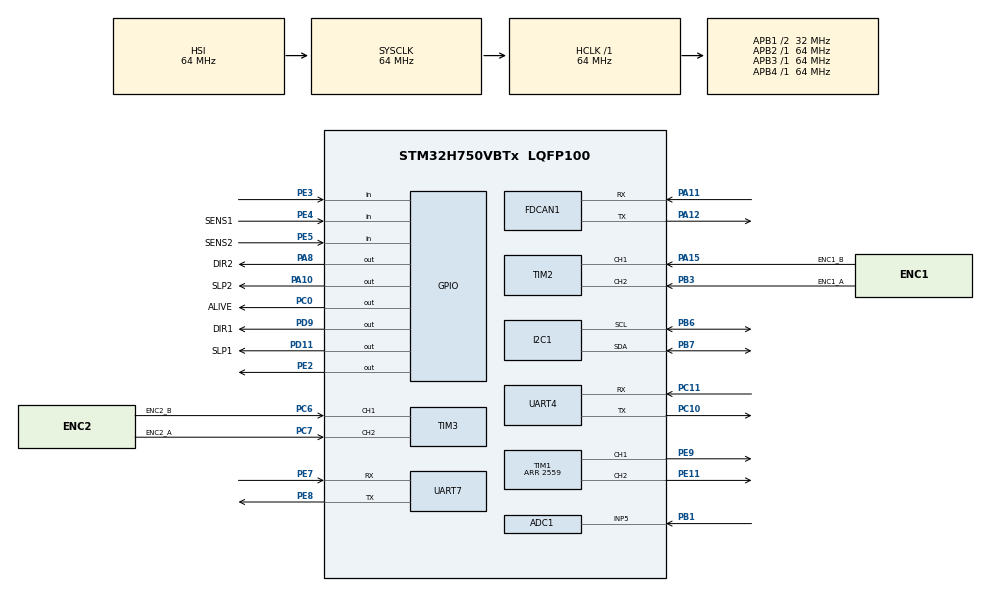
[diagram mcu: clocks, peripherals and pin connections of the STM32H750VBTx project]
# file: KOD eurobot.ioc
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ADC1.Channel-0\#ChannelRegularConversion=ADC_CHANNEL_5
ADC1.ContinuousConvMode=ENABLE
ADC1.ConversionDataManagement=ADC_CONVERSIONDATA_DR
ADC1.NbrOfConversionFlag=1
ADC1.OffsetNumber-0\#ChannelRegularConversion=ADC_OFFSET_NONE
ADC1.OffsetSignedSaturation-0\#ChannelRegularConversion=DISABLE
ADC1.Overrun=ADC_OVR_DATA_OVERWRITTEN
ADC1.Rank-0\#ChannelRegularConversion=1
ADC1.SamplingTime-0\#ChannelRegularConversion=ADC_SAMPLETIME_387CYCLES_5
ADC1.master=1
CORTEX_M7.default_mode_Activation=1
FDCAN1.CalculateBaudRateNominal=500000
FDCAN1.CalculateTimeBitNominal=2000
FDCAN1.CalculateTimeQuantumNominal=100.0
FDCAN1.NominalPrescaler=2
FDCAN1.NominalTimeSeg1=15
FDCAN1.NominalTimeSeg2=4
FDCAN1.RxFifo0ElmtsNbr=8
FDCAN1.RxFifo1ElmtsNbr=8
FDCAN1.StdFiltersNbr=1
FDCAN1.TxFifoQueueElmtsNbr=8
I2C1.Timing=0x00707CBB
Mcu.Family=STM32H7
Mcu.Name=STM32H750VBTx
Mcu.Package=LQFP100
NVIC.FDCAN1_IT0_IRQn=true\:5\:0\:true\:false\:true\:true\:true\:true
NVIC.PriorityGroup=NVIC_PRIORITYGROUP_4
NVIC.TIM7_IRQn=true\:0\:0\:false\:false\:true\:true\:true\:true
PA10.GPIO_Label=SLP2
PA10.GPIO_ModeDefaultOutputPP=GPIO_MODE_OUTPUT_PP
PA10.GPIO_PuPd=GPIO_NOPULL
PA10.GPIO_Speed=GPIO_SPEED_FREQ_LOW
PA10.PinState=GPIO_PIN_RESET
PA10.Signal=GPIO_Output
PA11.Mode=FDCAN_Activate
PA11.Signal=FDCAN1_RX
PA12.Mode=FDCAN_Activate
PA12.Signal=FDCAN1_TX
PA13\ (JTMS/SWDIO).Mode=Serial_Wire
PA13\ (JTMS/SWDIO).Signal=DEBUG_JTMS-SWDIO
PA14\ (JTCK/SWCLK).Mode=Serial_Wire
PA14\ (JTCK/SWCLK).Signal=DEBUG_JTCK-SWCLK
PA15\ (JTDI).GPIO_Label=ENC1_B
PA15\ (JTDI).GPIO_PuPd=GPIO_PULLUP
PA15\ (JTDI).Signal=S_TIM2_CH1_ETR
PA8.GPIO_Label=DIR2
PA8.Signal=GPIO_Output
PB1.Signal=ADCx_INP5
PB3\ (JTDO/TRACESWO).GPIO_Label=ENC1_A
PB3\ (JTDO/TRACESWO).GPIO_PuPd=GPIO_PULLUP
PB3\ (JTDO/TRACESWO).Signal=S_TIM2_CH2
PB6.GPIO_Pu=GPIO_PULLUP
PB6.Mode=I2C
PB6.Signal=I2C1_SCL
PB7.GPIO_Pu=GPIO_PULLUP
PB7.Mode=I2C
PB7.Signal=I2C1_SDA
PC0.GPIO_Label=ALIVE
PC0.GPIO_PuPd=GPIO_PULLDOWN
PC0.Signal=GPIO_Output
PC10.Mode=Asynchronous
PC10.Signal=UART4_TX
PC11.Mode=Asynchronous
PC11.Signal=UART4_RX
PC6.GPIO_Label=ENC2_B
PC6.GPIO_PuPd=GPIO_PULLUP
PC6.Signal=S_TIM3_CH1
PC7.GPIO_Label=ENC2_A
PC7.GPIO_PuPd=GPIO_PULLUP
PC7.Signal=S_TIM3_CH2
PD11.GPIO_Label=SLP1
PD11.GPIO_PuPd=GPIO_NOPULL
PD11.PinState=GPIO_PIN_RESET
PD11.Signal=GPIO_Output
PD9.GPIO_Label=DIR1
PD9.GPIO_PuPd=GPIO_PULLDOWN
PD9.Signal=GPIO_Output
PE11.Signal=S_TIM1_CH2
PE2.Signal=GPIO_Output
PE3.Signal=GPIO_Input
PE4.GPIO_Label=SENS1
PE4.GPIO_PuPd=GPIO_PULLDOWN
PE4.Signal=GPIO_Input
PE5.GPIO_Label=SENS2
PE5.GPIO_PuPd=GPIO_PULLDOWN
PE5.Signal=GPIO_Input
PE7.Mode=Asynchronous
PE7.Signal=UART7_RX
PE8.Mode=Asynchronous
PE8.Signal=UART7_TX
PE9.Signal=S_TIM1_CH1
ProjectManager.HeapSize=0x200
ProjectManager.StackSize=0x400
ProjectManager.TargetToolchain=STM32CubeIDE
RCC.ADCFreq_Value=80000000
RCC.APB1Freq_Value=32000000
RCC.APB2Freq_Value=64000000
RCC.APB3Freq_Value=64000000
RCC.APB4Freq_Value=64000000
RCC.CortexFreq_Value=64000000
RCC.D2PPRE1=RCC_APB1_DIV2
RCC.DIVM1=4
RCC.DIVM2=4
RCC.DIVN1=10
RCC.DIVN2=10
RCC.DIVQ1=8
RCC.HCLKFreq_Value=64000000
RCC.PLL2FRACN=0
RCC.PLLFRACN=0
RCC.SYSCLKFreq_VALUE=64000000
RCC.USBFreq_Value=20000000
SH.ADCx_INP5.0=ADC1_INP5,IN5-Single-Ended
SH.S_TIM1_CH1.0=TIM1_CH1,PWM Generation1 CH1
SH.S_TIM1_CH2.0=TIM1_CH2,PWM Generation2 CH2
SH.S_TIM2_CH1_ETR.0=TIM2_CH1,Encoder_Interface
SH.S_TIM2_CH2.0=TIM2_CH2,Encoder_Interface
SH.S_TIM3_CH1.0=TIM3_CH1,Encoder_Interface
SH.S_TIM3_CH2.0=TIM3_CH2,Encoder_Interface
TIM1.AutoReloadPreload=TIM_AUTORELOAD_PRELOAD_ENABLE
TIM1.Channel-PWM\ Generation1\ CH1=TIM_CHANNEL_1
TIM1.Channel-PWM\ Generation2\ CH2=TIM_CHANNEL_2
TIM1.Period=2559
TIM1.Pulse-PWM\ Generation1\ CH1=1280
TIM2.EncoderMode=TIM_ENCODERMODE_TI12
TIM3.EncoderMode=TIM_ENCODERMODE_TI12
TIM7.AutoReloadPreload=TIM_AUTORELOAD_PRELOAD_ENABLE
TIM7.Period=1999
TIM7.Prescaler=63
VP_MEMORYMAP_VS_MEMORYMAP.Mode=CurAppReg
VP_TIM7_VS_ClockSourceINT.Mode=Enable_Timer
board=custom

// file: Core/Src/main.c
/* USER CODE BEGIN Header */
/**
  ******************************************************************************
  * @file           : main.c
  * @brief          : STM kretacka - brzina levog/desnog tocka preko CAN-a
  ******************************************************************************
  * @attention
  *
  * Copyright (c) 2026 STMicroelectronics.
  * All rights reserved.
  *
  * This software is licensed under terms that can be found in the LICENSE file
  * in the root directory of this software component.
  * If no LICENSE file comes with this software, it is provided AS-IS.
  *
  ******************************************************************************
  */
/* USER CODE END Header */
#include "main.h"
#include "adc.h"
#include "fdcan.h"
#include "i2c.h"
#include "tim.h"
#include "usart.h"
#include "gpio.h"

/* USER CODE BEGIN Includes */
#include "Lib/board_config.h"

#include "Lib/ADC.h"
#include "Lib/motor.h"
#include "Lib/motors.h"

#include "Lib/encoders.h"
#include "Lib/odometry.h"
#include "Lib/PID.h"

#include "Lib/can_comm.h"
/* USER CODE END Includes */

/* USER CODE BEGIN PV */

volatile static float meas_speed_left  = 0.0f;   /* rad/s, filtrirano */
volatile static float meas_speed_right = 0.0f;
volatile static float cmd_left  = 0.0f;          /* % maks. PWM-a, -100..+100 */
volatile static float cmd_right = 0.0f;

/* USER CODE END PV */

void SystemClock_Config(void);
static void MPU_Config(void);

int main(void)
{
  MPU_Config();

  HAL_Init();

  /* Configure the system clock */
  SystemClock_Config();

  /* Initialize all configured peripherals */
  MX_GPIO_Init();
  MX_ADC1_Init();
  MX_TIM1_Init();
  MX_I2C1_Init();
  MX_UART4_Init();
  MX_UART7_Init();
  MX_TIM2_Init();
  MX_TIM3_Init();
  MX_TIM7_Init();
  MX_FDCAN1_Init();

  /* USER CODE BEGIN 2 */

  encoder_init();
  PWM_Init();
  odometry_init();

  wheel_pid_gains_init(&wheel_gains, PID_DEFAULT_KP, PID_DEFAULT_KI, PID_DEFAULT_KD, PID_D_LPF_FC_HZ, CONTROL_FREQ_HZ);
  wheel_pid_init(&pid_left, &wheel_gains, PID_COMMAND_LIMIT_PCT, PID_INTEGRATOR_LIMIT_PCT);
  wheel_pid_init(&pid_right, &wheel_gains, PID_COMMAND_LIMIT_PCT, PID_INTEGRATOR_LIMIT_PCT);

  can_comm_init();
  can_comm_startup_flush();

  HAL_TIM_Base_Start_IT(&htim7);
  /* USER CODE END 2 */

  while (1)
  {
    /* USER CODE END WHILE */

    /* USER CODE BEGIN 3 */

	  can_comm_task();
  }
  /* USER CODE END 3 */
}

void SystemClock_Config(void)
{
  RCC_OscInitTypeDef RCC_OscInitStruct = {0};
  RCC_ClkInitTypeDef RCC_ClkInitStruct = {0};

  /** Supply configuration update enable
  */
  HAL_PWREx_ConfigSupply(PWR_LDO_SUPPLY);

  /** Configure the main internal regulator output voltage
  */
  __HAL_PWR_VOLTAGESCALING_CONFIG(PWR_REGULATOR_VOLTAGE_SCALE3);

  while(!__HAL_PWR_GET_FLAG(PWR_FLAG_VOSRDY)) {}

  /** Initializes the RCC Oscillators according to the specified parameters
  * in the RCC_OscInitTypeDef structure.
  */
  RCC_OscInitStruct.OscillatorType = RCC_OSCILLATORTYPE_HSI;
  RCC_OscInitStruct.HSIState = RCC_HSI_DIV1;
  RCC_OscInitStruct.HSICalibrationValue = RCC_HSICALIBRATION_DEFAULT;
  RCC_OscInitStruct.PLL.PLLState = RCC_PLL_ON;
  RCC_OscInitStruct.PLL.PLLSource = RCC_PLLSOURCE_HSI;
  RCC_OscInitStruct.PLL.PLLM = 4;
  RCC_OscInitStruct.PLL.PLLN = 10;
  RCC_OscInitStruct.PLL.PLLP = 2;
  RCC_OscInitStruct.PLL.PLLQ = 8;
  RCC_OscInitStruct.PLL.PLLR = 2;
  RCC_OscInitStruct.PLL.PLLRGE = RCC_PLL1VCIRANGE_3;
  RCC_OscInitStruct.PLL.PLLVCOSEL = RCC_PLL1VCOMEDIUM;
  RCC_OscInitStruct.PLL.PLLFRACN = 0;
  if (HAL_RCC_OscConfig(&RCC_OscInitStruct) != HAL_OK)
  {
    Error_Handler();
  }

  /** Initializes the CPU, AHB and APB buses clocks
  */
  RCC_ClkInitStruct.ClockType = RCC_CLOCKTYPE_HCLK|RCC_CLOCKTYPE_SYSCLK
                              |RCC_CLOCKTYPE_PCLK1|RCC_CLOCKTYPE_PCLK2
                              |RCC_CLOCKTYPE_D3PCLK1|RCC_CLOCKTYPE_D1PCLK1;
  RCC_ClkInitStruct.SYSCLKSource = RCC_SYSCLKSOURCE_HSI;
  RCC_ClkInitStruct.SYSCLKDivider = RCC_SYSCLK_DIV1;
  RCC_ClkInitStruct.AHBCLKDivider = RCC_HCLK_DIV1;
  RCC_ClkInitStruct.APB3CLKDivider = RCC_APB3_DIV1;
  RCC_ClkInitStruct.APB1CLKDivider = RCC_APB1_DIV2;
  RCC_ClkInitStruct.APB2CLKDivider = RCC_APB2_DIV1;
  RCC_ClkInitStruct.APB4CLKDivider = RCC_APB4_DIV1;

  if (HAL_RCC_ClockConfig(&RCC_ClkInitStruct, FLASH_LATENCY_1) != HAL_OK)
  {
    Error_Handler();
  }
}

/* USER CODE BEGIN 4 */

void HAL_TIM_PeriodElapsedCallback(TIM_HandleTypeDef *htim)
{
    if (htim->Instance != TIM7)
        return;

    static uint16_t feedback_div = 0;
    static uint16_t alive_div = 0;

    // 500hz
    odometry_update();

    meas_speed_left  = get_wheel_speed_left();
    meas_speed_right = get_wheel_speed_right();

    // PID - 500 Hz
    if (can_motors_on) {
        cmd_left = wheel_pid_update(&pid_left, can_ref_speed_left, meas_speed_left);
        cmd_right = wheel_pid_update(&pid_right, can_ref_speed_right, meas_speed_right);

        PWM_SetCommand_Left(cmd_left);
        PWM_SetCommand_Right(cmd_right);
    } else {
        cmd_left = 0.0f;
        cmd_right = 0.0f;

        PWM_Stop();
    }

    // CAN feedback - 100 Hz
    if (++feedback_div >= CONTROL_FREQ_HZ / FEEDBACK_FREQ_HZ)
    {
        feedback_div = 0;
        can_comm_feedback_due();
    }

    // 1Hz alive led blinking
    if (++alive_div >= CONTROL_FREQ_HZ)
	{
		alive_div = 0;
		HAL_GPIO_TogglePin(ALIVE_GPIO_Port, ALIVE_Pin);
	}
}

/* USER CODE END 4 */

 /* MPU Configuration */

void MPU_Config(void)
{
  MPU_Region_InitTypeDef MPU_InitStruct = {0};

  /* Disables the MPU */
  HAL_MPU_Disable();

  /** Initializes and configures the Region and the memory to be protected
  */
  MPU_InitStruct.Enable = MPU_REGION_ENABLE;
  MPU_InitStruct.Number = MPU_REGION_NUMBER0;
  MPU_InitStruct.BaseAddress = 0x0;
  MPU_InitStruct.Size = MPU_REGION_SIZE_4GB;
  MPU_InitStruct.SubRegionDisable = 0x87;
  MPU_InitStruct.TypeExtField = MPU_TEX_LEVEL0;
  MPU_InitStruct.AccessPermission = MPU_REGION_NO_ACCESS;
  MPU_InitStruct.DisableExec = MPU_INSTRUCTION_ACCESS_DISABLE;
  MPU_InitStruct.IsShareable = MPU_ACCESS_SHAREABLE;
  MPU_InitStruct.IsCacheable = MPU_ACCESS_NOT_CACHEABLE;
  MPU_InitStruct.IsBufferable = MPU_ACCESS_NOT_BUFFERABLE;

  HAL_MPU_ConfigRegion(&MPU_InitStruct);
  /* Enables the MPU */
  HAL_MPU_Enable(MPU_PRIVILEGED_DEFAULT);

}

void Error_Handler(void)
{
  __disable_irq();
  while (1)
  {
  }
}
